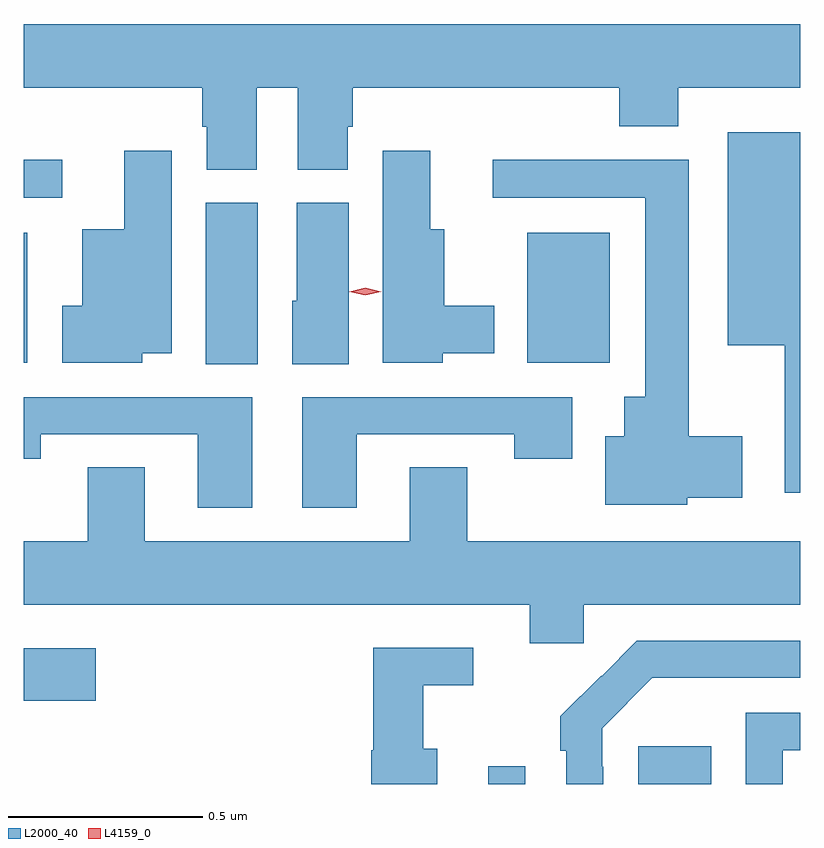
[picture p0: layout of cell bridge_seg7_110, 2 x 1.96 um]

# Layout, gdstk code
import gdstk
lib = gdstk.Library(unit=1e-6, precision=1e-09)
def R(c, l, rs):  # rectangles x0, y0, x1, y1
    for r in rs: c.add(gdstk.rectangle(r[:2], r[2:], *l))
def P(c, l, *ps):  # polygons
    for p in ps: c.add(gdstk.Polygon(p, *l))
L2000_40 = (2000, 40)
L4159_0 = (4159, 0)

bridge_seg7_110 = lib.new_cell('bridge_seg7_110')
R(bridge_seg7_110, L2000_40, [(1129.335,1005.483,1129.431,1005.529), (1129.721,1005.483,1129.909,1005.58), (1128.139,1005.698,1128.325,1005.832), (1128.608,1006.564,1128.742,1006.98), (1128.139,1006.568,1128.148,1006.903), (1129.436,1006.568,1129.648,1006.903), (1128.139,1006.992,1128.238,1007.09)])
P(bridge_seg7_110, L2000_40, [(1128.739,1007.276),(1128.845,1007.276),(1128.845,1007.065),(1128.973,1007.065),(1128.973,1007.175),(1128.986,1007.175),(1128.986,1007.276),(1129.673,1007.276),(1129.673,1007.177),(1129.825,1007.177),(1129.825,1007.276),(1130.139,1007.276),(1130.139,1007.44),(1128.139,1007.44),(1128.139,1007.276),(1128.599,1007.276),(1128.599,1007.175),(1128.611,1007.175),(1128.611,1007.065),(1128.739,1007.065)],
  [(1130.139,1007.161),(1129.952,1007.161),(1129.952,1006.613),(1130.099,1006.613),(1130.099,1006.233),(1130.139,1006.233)],
  [(1128.444,1006.592),(1128.52,1006.592),(1128.52,1007.113),(1128.398,1007.113),(1128.398,1006.912),(1128.29,1006.912),(1128.29,1006.714),(1128.239,1006.714),(1128.239,1006.568),(1128.444,1006.568)],
  [(1129.218,1006.592),(1129.351,1006.592),(1129.351,1006.714),(1129.222,1006.714),(1129.222,1006.912),(1129.186,1006.912),(1129.186,1007.113),(1129.064,1007.113),(1129.064,1006.568),(1129.218,1006.568)],
  [(1129.848,1006.22),(1129.99,1006.22),(1129.99,1006.378),(1129.852,1006.378),(1129.852,1007.09),(1129.347,1007.09),(1129.347,1006.992),(1129.739,1006.992),(1129.739,1006.48),(1129.685,1006.48),(1129.685,1006.378),(1129.637,1006.378),(1129.637,1006.202),(1129.848,1006.202)],
  [(1128.976,1006.98),(1128.842,1006.98),(1128.842,1006.728),(1128.83,1006.728),(1128.83,1006.564),(1128.976,1006.564)],
  [(1128.997,1006.383),(1129.402,1006.383),(1129.402,1006.32),(1129.552,1006.32),(1129.552,1006.479),(1128.857,1006.479),(1128.857,1006.194),(1128.997,1006.194)],
  [(1128.727,1006.479),(1128.139,1006.479),(1128.139,1006.32),(1128.183,1006.32),(1128.183,1006.383),(1128.587,1006.383),(1128.587,1006.194),(1128.727,1006.194)],
  [(1129.581,1005.944),(1130.139,1005.944),(1130.139,1006.108),(1129.281,1006.108),(1129.281,1006.298),(1129.133,1006.298),(1129.133,1006.108),(1128.451,1006.108),(1128.451,1006.298),(1128.304,1006.298),(1128.304,1006.108),(1128.139,1006.108),(1128.139,1005.944),(1129.442,1005.944),(1129.442,1005.846),(1129.581,1005.846)],
  [(1129.632,1005.527),(1129.629,1005.527),(1129.629,1005.627),(1129.758,1005.756),(1130.139,1005.756),(1130.139,1005.852),(1129.718,1005.852),(1129.627,1005.761),(1129.626,1005.762),(1129.521,1005.657),(1129.521,1005.569),(1129.536,1005.569),(1129.536,1005.483),(1129.632,1005.483)],
  [(1129.204,1005.574),(1129.168,1005.574),(1129.168,1005.737),(1129.297,1005.737),(1129.297,1005.834),(1129.039,1005.834),(1129.039,1005.57),(1129.034,1005.57),(1129.034,1005.483),(1129.204,1005.483)],
  [(1130.094,1005.57),(1130.139,1005.57),(1130.139,1005.666),(1129.998,1005.666),(1129.998,1005.483),(1130.094,1005.483)])
P(bridge_seg7_110, L4159_0, [(1129.019,1006.741),(1128.978,1006.75),(1128.978,1006.751),(1128.978,1006.751),(1129.019,1006.761),(1129.06,1006.751),(1129.06,1006.751),(1129.06,1006.75)])

lib.write_gds('bridge_seg7_110.gds')
